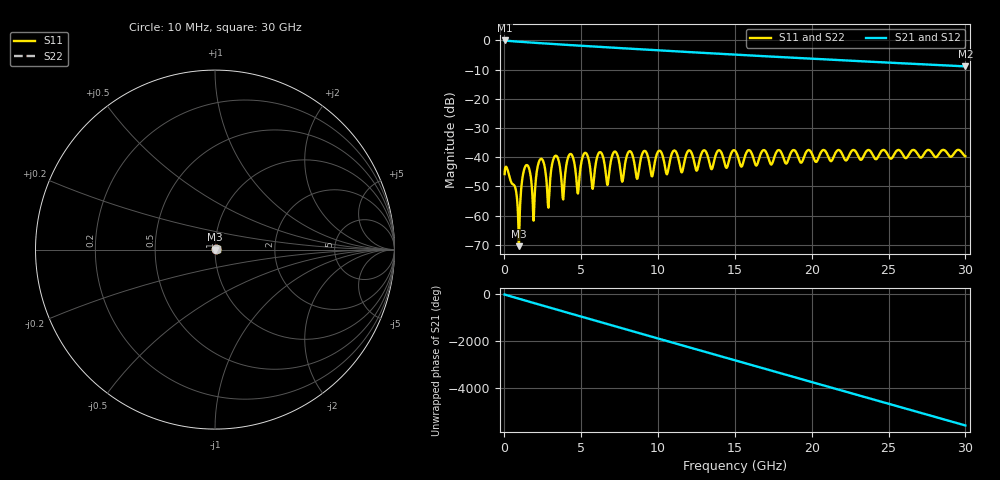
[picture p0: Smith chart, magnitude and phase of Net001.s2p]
! Touchstone generated by fitter/viewer
# HZ S  RI R 5.000000e+001
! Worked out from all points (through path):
!   1000 points, 10 MHz to 30 GHz, reference 50 ohm
!   highest |S21| = -0.05 dB at 10 MHz (marker M1); lowest = -8.9 dB at 30 GHz (marker M2)
!   group delay of S21, straight-line fit = 516 ps
!   lowest |S11| = -70.5 dB at 940.6 MHz (marker M3), VSWR 1.00, Z = 50 + j0.0109 ohm
!   |S11| at or under -10 dB: start of sweep to end of sweep
!   |S22| runs from -70.5 to -37.5 dB; largest |S21 - S12| = 0
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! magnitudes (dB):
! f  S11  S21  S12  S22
! 10 MHz  -45.8  0.0  0.0  -45.8
! 940.6 MHz  -70.5  -0.5  -0.5  -70.5
! 1.421 GHz  -42.7  -0.7  -0.7  -42.7
! 1.901 GHz  -61.7  -0.8  -0.8  -61.7
! 2.352 GHz  -40.6  -1.0  -1.0  -40.6
! 2.862 GHz  -57.3  -1.2  -1.2  -57.3
! 3.312 GHz  -39.5  -1.3  -1.3  -39.5
! 3.793 GHz  -54.0  -1.5  -1.5  -54.0
! 4.243 GHz  -39.0  -1.6  -1.6  -39.0
! 4.753 GHz  -52.0  -1.8  -1.8  -52.0
! 5.023 GHz  -41.3  -1.9  -1.9  -41.3
! 7.215 GHz  -38.1  -2.6  -2.6  -38.1
! 7.665 GHz  -48.4  -2.7  -2.7  -48.4
! 8.175 GHz  -38.0  -2.9  -2.9  -38.0
! 8.626 GHz  -47.4  -3.0  -3.0  -47.4
! 9.136 GHz  -37.9  -3.2  -3.2  -37.9
! 9.616 GHz  -46.6  -3.3  -3.3  -46.6
! 10.01 GHz  -38.0  -3.4  -3.4  -38.0
! 15.02 GHz  -37.8  -4.9  -4.9  -37.8
! 20.03 GHz  -39.1  -6.3  -6.3  -39.1
! 25.02 GHz  -39.8  -7.6  -7.6  -39.8
! 30 GHz  -39.7  -8.9  -8.9  -39.7
